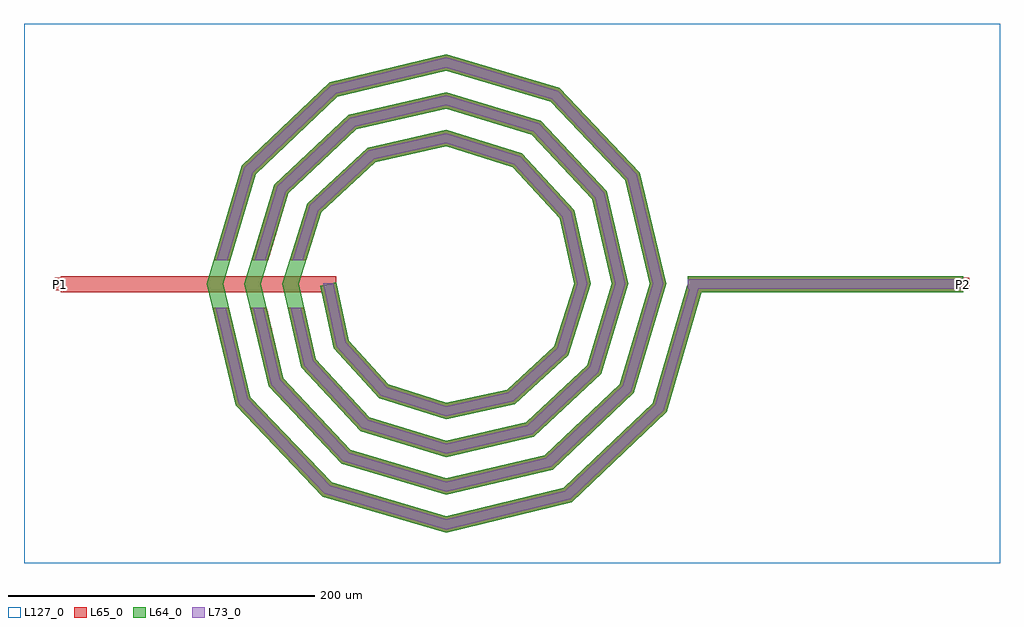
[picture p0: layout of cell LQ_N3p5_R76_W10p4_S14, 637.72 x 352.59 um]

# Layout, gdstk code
import gdstk
lib = gdstk.Library(unit=1e-6, precision=1e-09)
def R(c, l, rs):  # rectangles x0, y0, x1, y1
    for r in rs: c.add(gdstk.rectangle(r[:2], r[2:], *l))
def P(c, l, *ps):  # polygons
    for p in ps: c.add(gdstk.Polygon(p, *l))
L64_0 = (64, 0)
L65_0 = (65, 0)
L73_0 = (73, 0)
L127_0 = (127, 0)

lq_n3p5_r76_w10p4_s14 = lib.new_cell('LQ_N3p5_R76_W10p4_S14')
R(lq_n3p5_r76_w10p4_s14, L64_0, [(158.052,-5.2,338.052,5.2)])
P(lq_n3p5_r76_w10p4_s14, L64_0, [(-63.566,-37.002),(-37.583,-65.605),(0.249,-77.664),(40.07,-68.918),(70.939,-40.683),(83.833,0.231),(74.269,43.141),(43.781,76.274),(0.216,90.002),(-46.213,79.619),(-81.61,46.878),(-96.172,0.203),(-84.969,-49.287),(-49.973,-86.947),(0.192,-102.342),(52.362,-90.317),(92.285,-53.067),(108.511,0.181),(95.666,55.438),(56.161,97.623),(0.172,114.681),(-58.515,101.013),(-102.962,59.253),(-120.851,0.164),(-106.36,-61.593),(-62.345,-108.301),(0.156,-127.021),(64.672,-111.707),(113.641,-65.436),(133.19,0.149),(117.054,67.751),(68.526,118.981),(0.143,139.36),(-70.83,122.4),(-124.321,71.617),(-145.53,0.137),(-127.746,-73.91),(-74.706,-129.662),(0.132,-151.7),(76.991,-133.092),(135.002,-77.796),(158.263,1.464),(168.242,-1.464),(144.196,-83.4),(82.148,-142.544),(0.132,-162.464),(-80.319,-138.85),(-137.203,-79.058),(-156.294,0.137),(-133.504,77.239),(-75.968,131.863),(0.143,150.124),(74.159,128.158),(126.522,72.878),(143.954,0.149),(122.811,-71.08),(69.787,-121.182),(0.156,-137.784),(-68.001,-117.464),(-115.842,-66.696),(-131.613,0.164),(-112.116,64.922),(-63.604,110.503),(0.172,125.443),(61.845,106.768),(105.164,60.511),(119.273,0.181),(101.42,-58.768),(57.417,-99.825),(0.192,-113.103),(-55.692,-96.071),(-94.487,-54.322),(-106.932,0.203),(-90.721,52.617),(-51.226,89.15),(0.216,100.762),(49.544,85.37),(83.813,48.128),(94.591,0.231),(80.019,-46.472),(45.029,-78.477),(0.249,-88.421),(-43.403,-74.666),(-73.143,-41.927),(-81.955,-1.097),(-71.789,1.097)])
R(lq_n3p5_r76_w10p4_s14, L65_0, [(-251.672,-5.2,-71.672,5.2), (158.052,-5.2,338.052,5.2), (-255.672,-4,-247.672,4), (334.052,-4,342.052,4)])
P(lq_n3p5_r76_w10p4_s14, L65_0, [(-127.746,-73.91),(-74.706,-129.662),(0.132,-151.7),(76.991,-133.092),(135.002,-77.796),(158.263,1.464),(168.242,-1.464),(144.196,-83.4),(82.148,-142.544),(0.132,-162.464),(-80.319,-138.85),(-137.203,-79.059),(-152.501,-15.6),(-141.803,-15.6)],
  [(-106.361,-61.593),(-62.345,-108.301),(0.156,-127.021),(64.672,-111.707),(113.641,-65.436),(133.191,0.149),(117.054,67.751),(68.527,118.981),(0.143,139.36),(-70.83,122.4),(-124.321,71.617),(-140.879,15.6),(-151.724,15.6),(-133.504,77.239),(-75.969,131.863),(0.143,150.124),(74.159,128.158),(126.522,72.878),(143.954,0.149),(122.811,-71.08),(69.787,-121.182),(0.156,-137.784),(-68.001,-117.464),(-115.842,-66.696),(-127.895,-15.6),(-117.21,-15.6)],
  [(-84.969,-49.287),(-49.973,-86.947),(0.192,-102.342),(52.362,-90.317),(92.285,-53.068),(108.511,0.181),(95.666,55.438),(56.161,97.623),(0.172,114.681),(-58.515,101.013),(-102.962,59.253),(-116.105,15.6),(-126.966,15.6),(-112.116,64.922),(-63.604,110.503),(0.172,125.443),(61.845,106.768),(105.164,60.511),(119.273,0.181),(101.42,-58.768),(57.417,-99.825),(0.192,-113.103),(-55.692,-96.071),(-94.487,-54.322),(-103.325,-15.6),(-92.658,-15.6)],
  [(-37.583,-65.605),(0.249,-77.664),(40.07,-68.918),(70.939,-40.683),(83.833,0.231),(74.269,43.141),(43.781,76.274),(0.217,90.002),(-46.213,79.619),(-81.61,46.878),(-91.284,15.6),(-102.17,15.6),(-90.721,52.618),(-51.226,89.15),(0.217,100.762),(49.544,85.37),(83.813,48.128),(94.591,0.231),(80.019,-46.472),(45.029,-78.477),(0.249,-88.421),(-43.403,-74.666),(-73.143,-41.927),(-81.955,-1.097),(-71.789,1.097),(-63.566,-37.002)])
R(lq_n3p5_r76_w10p4_s14, L73_0, [(158.052,-3.2,338.052,3.2)])
P(lq_n3p5_r76_w10p4_s14, L73_0, [(-129.565,-74.9),(-75.786,-131.429),(0.081,-153.77),(77.983,-134.91),(136.771,-78.873),(160.182,0.901),(166.323,0.901),(142.428,-82.322),(81.156,-140.727),(0.081,-160.394),(-79.24,-137.083),(-135.385,-78.068),(-150.443,-15.6),(-143.86,-15.6)],
  [(-108.184,-62.574),(-63.433,-110.063),(0.096,-129.09),(65.655,-113.529),(115.404,-66.521),(135.26,0.092),(118.875,68.737),(69.61,120.746),(0.088,141.43),(-71.818,124.22),(-126.087,72.698),(-142.964,15.6),(-149.638,15.6),(-131.738,76.158),(-74.98,130.043),(0.088,148.054),(73.076,126.393),(124.701,71.892),(141.884,0.092),(121.047,-69.994),(68.803,-119.36),(0.096,-135.714),(-66.913,-115.702),(-114.019,-65.714),(-125.84,-15.6),(-119.265,-15.6)],
  [(-86.799,-50.255),(-51.073,-88.702),(0.118,-104.411),(53.334,-92.146),(94.042,-54.164),(110.581,0.112),(97.492,56.414),(57.254,99.382),(0.106,116.751),(-59.494,102.838),(-104.722,60.343),(-118.194,15.6),(-124.877,15.6),(-110.356,63.832),(-62.625,108.678),(0.106,123.374),(60.752,105.01),(103.337,59.535),(117.203,0.112),(99.663,-57.672),(56.445,-97.997),(0.118,-111.033),(-54.592,-94.316),(-92.657,-53.354),(-101.274,-15.6),(-94.709,-15.6)],
  [(-38.702,-67.348),(0.153,-79.732),(41.024,-70.757),(72.685,-41.796),(85.902,0.142),(76.105,44.1),(44.89,78.023),(0.133,92.072),(-47.177,81.452),(-83.362,47.982),(-93.378,15.6),(-100.077,15.6),(-88.969,51.514),(-50.262,87.317),(0.133,98.693),(48.436,83.621),(81.978,47.169),(92.522,0.142),(78.273,-45.359),(44.075,-76.639),(0.153,-86.352),(-42.283,-72.923),(-71.301,-40.98),(-80,0.675),(-73.744,0.675),(-65.408,-37.949)])
R(lq_n3p5_r76_w10p4_s14, L127_0, [(-275.672,-182.464,362.052,170.124)])
lq_n3p5_r76_w10p4_s14.add(gdstk.Label('P2', (338.052,0), layer=65, texttype=0))
lq_n3p5_r76_w10p4_s14.add(gdstk.Label('P1', (-251.672,0), layer=65, texttype=0))
lq_n3p5_r76_w10p4_s14.add(gdstk.Label('P2', (342.052,0), layer=145, texttype=0))
lq_n3p5_r76_w10p4_s14.add(gdstk.Label('P1', (-255.672,0), layer=145, texttype=0))

lib.write_gds('LQ_N3p5_R76_W10p4_S14.gds')
